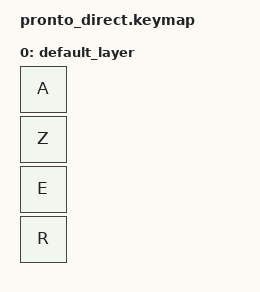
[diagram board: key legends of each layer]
#include <behaviors.dtsi>
#include <dt-bindings/zmk/keys.h>

/ {
    keymap {
        compatible = "zmk,keymap";

        default_layer { // Layer 0
            // -------------------------------------
            // |     A     |    Z    |    E    |    R   | 

            bindings = <
                &kp A
                &kp Z
                &kp E
                &kp R
            >;
        };

    };
 };
